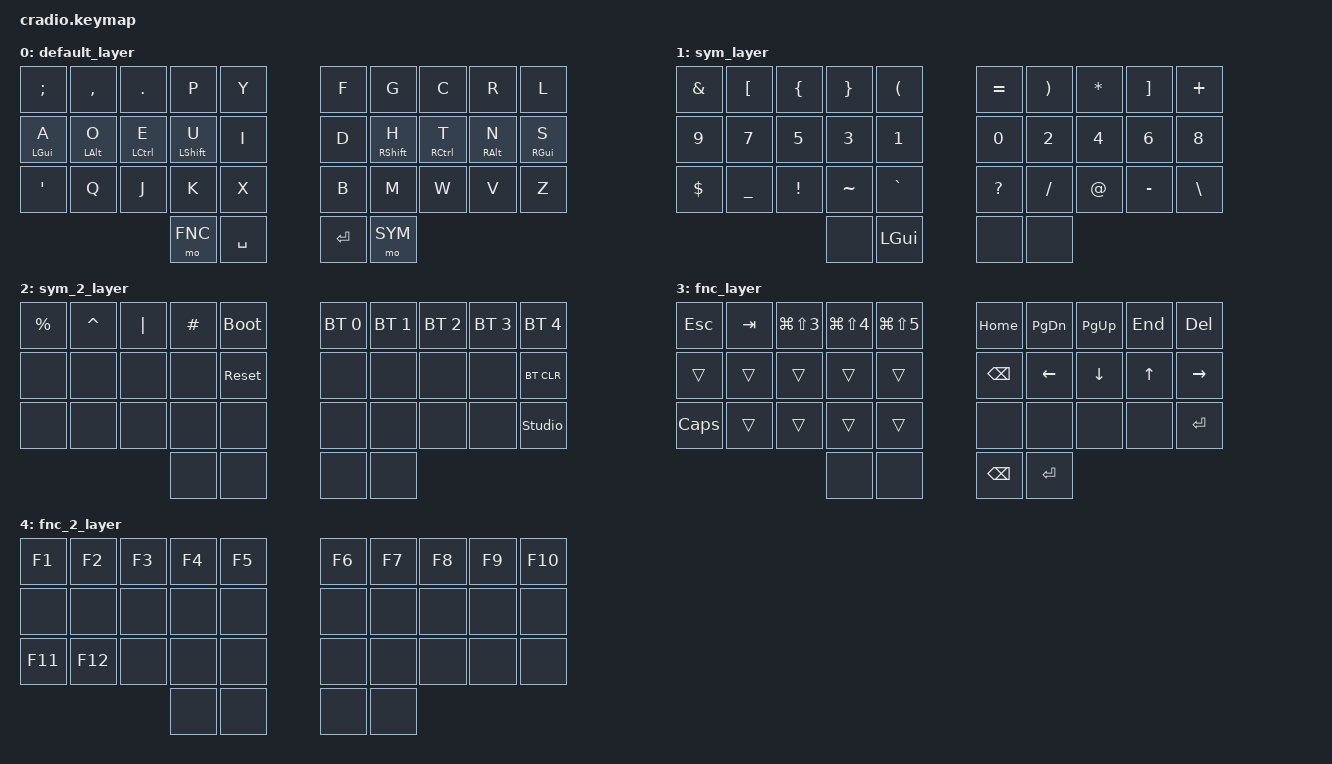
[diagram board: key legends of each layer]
/*
 * Copyright (c) 2020 The ZMK Contributors
 *
 * SPDX-License-Identifier: MIT
 */

#include <behaviors.dtsi>
#include <dt-bindings/zmk/keys.h>
#include <dt-bindings/zmk/bt.h>

#define DVORAK 0
#define SYM    1
#define SYM_2  2
#define FNC    3
#define FNC_2  4

/ {

    behaviors {
        hm: homerow_mods {
            compatible = "zmk,behavior-hold-tap";
            #binding-cells = <2>;
            tapping-term-ms = <280>;
            quick-tap-ms = <175>;
            require-prior-idle-ms = <150>;
            flavor = "balanced";
            bindings = <&kp>, <&kp>;
        };
    };

    combos {
        compatible = "zmk,combos";

        combo_sym2 {
            timeout-ms = <50>;
            key-positions = <32 33>;
            bindings = <&tog SYM_2>;
        };

        combo_fun2 {
            timeout-ms = <50>;
            key-positions = <30 31>;
            bindings = <&tog FNC_2>;
        };

    };

    keymap {
        compatible = "zmk,keymap";

/*

 | ;  | ,  | .  | P | Y |       | F | G | C | R | L |
 | A* | O* | E* | U*| I |       | D | H*| T*| N*| S*|
 | '  | Q  | J  | K | X |       | B | M | W | V | Z |
           | FNC | SPACE |       | ENTER | SYM |
  * = home row mod (Cmd/Alt/Ctrl/Shift)
  */

       	default_layer {
		    bindings = <
		&kp SEMI    &kp COMMA   &kp DOT     &kp P        &kp Y 				&kp F        &kp G        &kp C        &kp R       &kp L
		&hm LGUI A  &hm LALT O  &hm LCTRL E &hm LSHFT U  &kp I 				&kp D        &hm RSHFT H  &hm RCTRL T  &hm RALT N  &hm RGUI S
		&kp SQT     &kp Q       &kp J       &kp K        &kp X				&kp B        &kp M        &kp W        &kp V       &kp Z
          				                     &mo FNC      &kp SPC  			&kp ENTER    &mo SYM
		>;
		};

/*

 | & | [ | { | } | ( |       | = | ) | * | ] | + |
 | 9 | 7 | 5 | 3 | 1 |       | 0 | 2 | 4 | 6 | 8 |
 | $ | _ | ! | ~ | ` |       | ? | / | @ | - | \ |
             |   | CMD |    |   |   |
  */

       	sym_layer {
		    bindings = <
		&kp AMPS   &kp LBKT     &kp LBRC   &kp RBRC    &kp LPAR		&kp EQUAL   &kp RPAR    &kp STAR    &kp RBKT    &kp PLUS
		&kp NUM_9  &kp NUM_7    &kp NUM_5  &kp NUM_3   &kp NUM_1		&kp NUM_0   &kp NUM_2   &kp NUM_4   &kp NUM_6   &kp NUM_8
		&kp DLLR   &kp UNDER    &kp EXCL   &kp TILDE   &kp GRAVE 	    &kp QMARK   &kp SLASH   &kp AT      &kp MINUS   &kp BSLH
					                       &none       &kp LGUI  		&none       &none
		>;
		};

/*

 | % | ^ | | | # | BOOT |       | BT0 | BT1 | BT2 | BT3 | BT4 |
 |   |   |   |   | RST  |       |     |     |     |     | CLR |
 |   |   |   |   |      |       |     |     |     |     | UNL |
             |   |       |       |     |     |
  */

		sym_2_layer {
		    bindings = <
		&kp PRCNT  &kp CARET &kp PIPE   &kp HASH &bootloader 		&bt BT_SEL 0  &bt BT_SEL 1  &bt BT_SEL 2  &bt BT_SEL 3  &bt BT_SEL 4
		&none      &none     &none      &none    &sys_reset  		&none  &none  &none  &none  &bt BT_CLR
		&none      &none     &none      &none    &none    			&none  &none  &none  &none  &studio_unlock
					                    &none    &none  			&none  &none
		>;
		};

/*

 | ESC | TAB | SS3 | SS4 | SS5 |       | HOME | PGDN | PGUP | END  | DEL  |
 | trn | trn | trn | trn | trn |       | BSPC | LEFT | DOWN | UP   | RGT  |
 | CAP | trn | trn | trn | trn |       |      |      |      |      | ENT  |
             |     |     |             | BSPC | ENT  |
  trn = transparent (home row mods pass through)
  */

		fnc_layer {
		    bindings = <
		&kp ESC  &kp TAB  &kp LG(LS(NUMBER_3)) &kp LG(LS(NUMBER_4)) &kp LG(LS(NUMBER_5))	&kp HOME  &kp PG_DN &kp PG_UP &kp END    &kp DEL
		&trans   &trans   &trans                &trans                &trans    				&kp BSPC  &kp LEFT  &kp DOWN  &kp UP    &kp RIGHT
		&kp CAPS &trans   &trans                &trans                &trans    				&none     &none     &none     &none     &kp ENTER
					    				        &none                 &none  					&kp BSPC  &kp ENTER
		>;
		};

/*

 | F1  | F2  | F3  | F4  | F5  |       | F6  | F7  | F8  | F9  | F10 |
 |     |     |     |     |     |       |     |     |     |     |     |
 | F11 | F12 |     |     |     |       |     |     |     |     |     |
             |     |     |             |     |     |
  */

        fnc_2_layer {
		    bindings = <
		&kp F1   &kp F2   &kp F3   &kp F4   &kp F5 			&kp F6   &kp F7   &kp F8   &kp F9   &kp F10
		&none    &none    &none    &none    &none  				&none    &none    &none    &none    &none
		&kp F11  &kp F12  &none    &none    &none   			&none    &none    &none    &none    &none
					               &none    &none  				&none    &none
		>;
		};

	};
};
